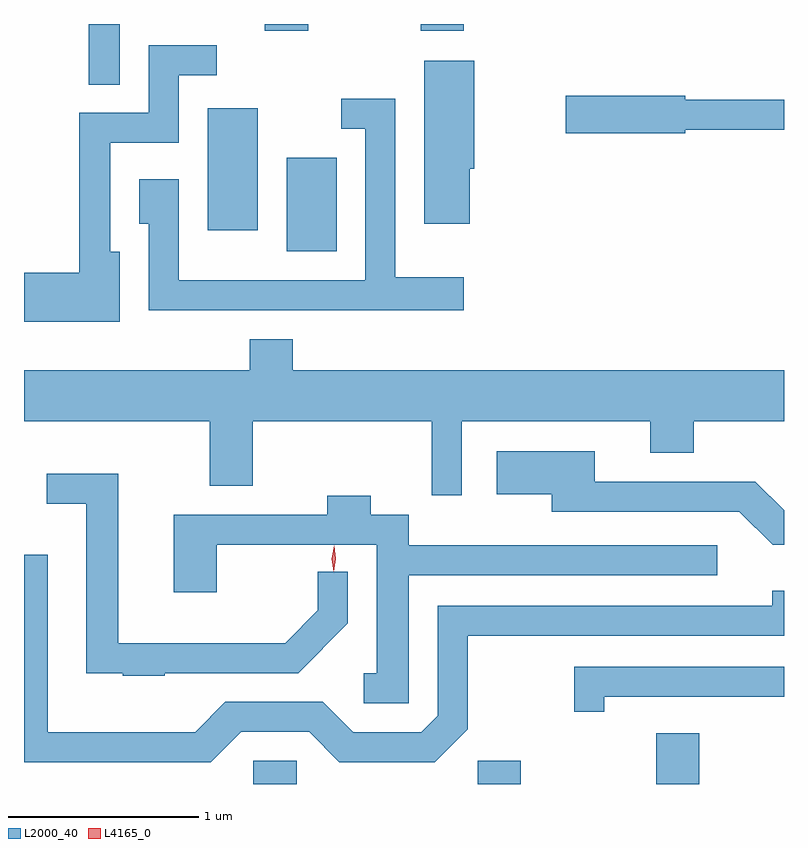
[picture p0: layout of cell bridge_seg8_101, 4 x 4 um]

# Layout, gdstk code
import gdstk
lib = gdstk.Library(unit=1e-6, precision=1e-09)
def R(c, l, rs):  # rectangles x0, y0, x1, y1
    for r in rs: c.add(gdstk.rectangle(r[:2], r[2:], *l))
def P(c, l, *ps):  # polygons
    for p in ps: c.add(gdstk.Polygon(p, *l))
L2000_40 = (2000, 40)
L4165_0 = (4165, 0)

bridge_seg8_101 = lib.new_cell('bridge_seg8_101')
R(bridge_seg8_101, L2000_40, [(1587.431,1812.307,1587.659,1812.429), (1588.611,1812.307,1588.839,1812.429), (1589.551,1812.307,1589.779,1812.574), (1587.606,1815.111,1587.869,1815.604), (1587.191,1815.221,1587.454,1815.864), (1586.566,1815.988,1586.729,1816.307), (1587.491,1816.271,1587.719,1816.307), (1588.311,1816.271,1588.539,1816.307)])
P(bridge_seg8_101, L2000_40, [(1586.729,1815.109),(1586.679,1815.109),(1586.679,1815.681),(1587.039,1815.681),(1587.039,1816.036),(1587.238,1816.036),(1587.238,1816.194),(1586.881,1816.194),(1586.881,1815.839),(1586.516,1815.839),(1586.516,1814.999),(1586.224,1814.999),(1586.224,1814.741),(1586.729,1814.741)],
  [(1588.569,1815.546),(1588.594,1815.546),(1588.594,1816.114),(1588.331,1816.114),(1588.331,1815.256),(1588.569,1815.256)],
  [(1589.704,1815.751),(1590.224,1815.751),(1590.224,1815.909),(1589.704,1815.909),(1589.704,1815.929),(1589.076,1815.929),(1589.076,1815.731),(1589.704,1815.731)],
  [(1588.539,1814.974),(1588.179,1814.974),(1588.179,1815.914),(1587.893,1815.914),(1587.893,1815.756),(1588.021,1815.756),(1588.021,1814.959),(1587.039,1814.959),(1587.039,1815.489),(1586.831,1815.489),(1586.831,1815.256),(1586.881,1815.256),(1586.881,1814.801),(1588.539,1814.801)],
  [(1588.529,1814.216),(1589.521,1814.216),(1589.521,1814.051),(1589.749,1814.051),(1589.749,1814.216),(1590.224,1814.216),(1590.224,1814.484),(1587.639,1814.484),(1587.639,1814.649),(1587.411,1814.649),(1587.411,1814.484),(1586.224,1814.484),(1586.224,1814.216),(1587.201,1814.216),(1587.201,1813.876),(1587.429,1813.876),(1587.429,1814.216),(1588.371,1814.216),(1588.371,1813.828),(1588.529,1813.828)],
  [(1590.224,1813.747),(1590.072,1813.899),(1589.229,1813.899),(1589.229,1814.059),(1588.711,1814.059),(1588.711,1813.831),(1589.001,1813.831),(1589.001,1813.741),(1589.989,1813.741),(1590.164,1813.566),(1590.224,1813.566)],
  [(1586.965,1812.891),(1587.667,1812.891),(1587.929,1813.154),(1587.929,1813.423),(1587.771,1813.423),(1587.771,1813.222),(1587.599,1813.049),(1586.719,1813.049),(1586.719,1813.939),(1586.343,1813.939),(1586.343,1813.781),(1586.551,1813.781),(1586.551,1812.891),(1586.745,1812.891),(1586.745,1812.876),(1586.965,1812.876)],
  [(1588.249,1813.406),(1589.873,1813.406),(1589.873,1813.564),(1588.249,1813.564),(1588.249,1813.724),(1588.049,1813.724),(1588.049,1813.824),(1587.821,1813.824),(1587.821,1813.724),(1587.011,1813.724),(1587.011,1813.316),(1587.239,1813.316),(1587.239,1813.566),(1588.081,1813.566),(1588.081,1812.889),(1588.013,1812.889),(1588.013,1812.731),(1588.249,1812.731)],
  [(1587.367,1812.581),(1587.724,1812.581),(1587.884,1812.421),(1588.387,1812.421),(1588.559,1812.594),(1588.559,1813.086),(1590.224,1813.086),(1590.224,1813.323),(1590.161,1813.323),(1590.161,1813.244),(1588.401,1813.244),(1588.401,1812.667),(1588.314,1812.579),(1587.957,1812.579),(1587.797,1812.739),(1587.284,1812.739),(1587.124,1812.579),(1586.349,1812.579),(1586.349,1813.513),(1586.224,1813.513),(1586.224,1812.421),(1587.207,1812.421)],
  [(1589.279,1812.766),(1590.224,1812.766),(1590.224,1812.924),(1589.121,1812.924),(1589.121,1812.688),(1589.279,1812.688)])
P(bridge_seg8_101, L4165_0, [(1587.854,1813.423),(1587.854,1813.424),(1587.845,1813.493),(1587.856,1813.562),(1587.856,1813.562),(1587.856,1813.562),(1587.865,1813.493),(1587.855,1813.424)])

lib.write_gds('bridge_seg8_101.gds')
